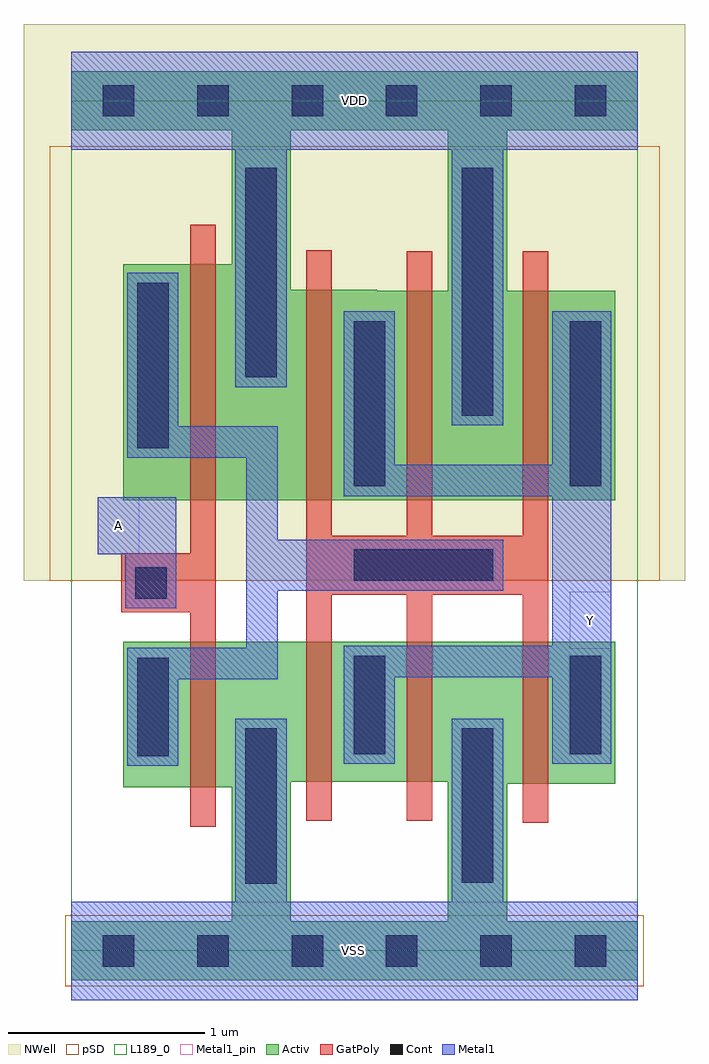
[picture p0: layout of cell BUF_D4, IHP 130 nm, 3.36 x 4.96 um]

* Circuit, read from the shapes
.subckt BUF_D4 A VDD VSS Y
XM1 VSS A n1 VSS sg13_lv_nmos w=0.74u l=0.13u
XM2 Y n1 VSS VSS sg13_lv_nmos w=0.71u l=0.13u m=2
XM3 Y n1 VSS VSS sg13_lv_nmos w=0.72u l=0.13u
XM4 VDD A n1 VDD sg13_lv_pmos w=1.2u l=0.13u
XM5 Y n1 VDD VDD sg13_lv_pmos w=1.07u l=0.13u
XM6 VDD n1 Y VDD sg13_lv_pmos w=1.065u l=0.13u m=2
.ends

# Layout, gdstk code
import gdstk
lib = gdstk.Library(unit=1e-6, precision=1e-09)
def R(c, l, rs):  # rectangles x0, y0, x1, y1
    for r in rs: c.add(gdstk.rectangle(r[:2], r[2:], *l))
def A(c, l, x, y, w, h, nx, ny, dx, dy):  # array of equal rectangles
    R(c, l, [(x+i*dx, y+j*dy, x+i*dx+w, y+j*dy+h) for i in range(nx) for j in range(ny)])
def P(c, l, *ps):  # polygons
    for p in ps: c.add(gdstk.Polygon(p, *l))
Activ = (1, 0)
GatPoly = (5, 0)
Cont = (6, 0)
Metal1 = (8, 0)
Metal1_pin = (8, 2)
pSD = (14, 0)
NWell = (31, 0)
L189_0 = (189, 0)

buf_d4 = lib.new_cell('BUF_D4')
P(buf_d4, Activ, [(0,-0.15),(0,0.15),(0.815,0.15),(1.115,0.15),(1.915,0.15),(1.915,0.86),(1.115,0.86),(1.115,0.15),(0.815,0.15),(0.815,0.83),(0.265,0.83),(0.265,1.57),(2.765,1.57),(2.765,0.85),(2.215,0.85),(2.215,0.15),(2.88,0.15),(2.88,-0.15)],
  [(0.265,2.29),(0.265,3.36),(1.115,3.36),(1.555,3.36),(1.555,3.355),(1.915,3.355),(1.915,4.17),(1.115,4.17),(1.115,3.36),(0.265,3.36),(0.265,3.49),(0.815,3.49),(0.815,4.17),(0,4.17),(0,4.47),(2.88,4.47),(2.88,4.17),(2.215,4.17),(2.215,3.355),(2.765,3.355),(2.765,2.29)])
P(buf_d4, GatPoly, [(2.295,0.65),(2.295,1.81),(1.835,1.81),(1.835,0.66),(1.705,0.66),(1.705,1.81),(1.325,1.81),(1.325,0.66),(1.195,0.66),(1.195,3.56),(1.325,3.56),(1.325,2.11),(1.705,2.11),(1.705,3.555),(1.835,3.555),(1.835,2.11),(2.295,2.11),(2.295,3.555),(2.425,3.555),(2.425,0.65)],
  [(0.605,0.63),(0.605,1.72),(0.255,1.72),(0.255,2.02),(0.605,2.02),(0.605,3.69),(0.735,3.69),(0.735,0.63)])
A(buf_d4, Cont, 0.16, -0.08, 0.16, 0.16, 6, 2, 0.48, 4.32)
R(buf_d4, Cont, [(0.885,0.34,1.045,1.13), (1.985,0.345,2.145,1.13), (0.335,0.99,0.495,1.49), (1.435,1,1.595,1.5), (2.535,1,2.695,1.5), (0.325,1.79,0.485,1.95), (1.435,1.88,2.145,2.04), (1.435,2.36,1.595,3.2), (2.535,2.36,2.695,3.2), (0.335,2.555,0.495,3.395), (1.985,2.72,2.145,3.98), (0.885,2.915,1.045,3.98)])
R(buf_d4, Metal1, [(0.835,2.865,1.095,4.07)])
P(buf_d4, Metal1, [(0.285,0.94),(0.285,1.54),(0.89,1.54),(0.89,2.505),(0.285,2.505),(0.285,3.445),(0.545,3.445),(0.545,2.665),(1.05,2.665),(1.05,2.09),(2.195,2.09),(2.195,1.83),(1.05,1.83),(1.05,1.38),(0.545,1.38),(0.545,0.94)],
  [(1.935,2.67),(1.935,4.07),(0,4.07),(0,4.57),(2.88,4.57),(2.88,4.07),(2.195,4.07),(2.195,2.67)],
  [(1.385,0.95),(1.385,1.55),(2.445,1.55),(2.445,2.31),(1.385,2.31),(1.385,3.25),(1.645,3.25),(1.645,2.47),(2.445,2.47),(2.445,3.25),(2.745,3.25),(2.745,0.95),(2.445,0.95),(2.445,1.39),(1.645,1.39),(1.645,0.95)],
  [(0.275,1.74),(0.275,2.015),(0.135,2.015),(0.135,2.305),(0.535,2.305),(0.535,1.74)],
  [(0,-0.25),(0,0.25),(0.835,0.25),(0.835,1.18),(1.095,1.18),(1.095,0.25),(1.935,0.25),(1.935,1.18),(2.195,1.18),(2.195,0.25),(2.88,0.25),(2.88,-0.25)])
R(buf_d4, Metal1_pin, [(0,-0.25,2.88,0.25), (2.535,1.535,2.745,1.825), (0.135,2.015,0.345,2.305), (0,4.07,2.88,4.57)])
R(buf_d4, pSD, [(-0.03,-0.18,2.91,0.18), (-0.11,1.88,2.99,4.09)])
R(buf_d4, NWell, [(-0.24,1.88,3.12,4.71)])
R(buf_d4, L189_0, [(0,0,2.88,4.32)])
buf_d4.add(gdstk.Label('A', (0.24,2.16), layer=8, texttype=25))
buf_d4.add(gdstk.Label('Y', (2.64,1.68), layer=8, texttype=25))
buf_d4.add(gdstk.Label('VSS', (1.435,0), layer=8, texttype=25))
buf_d4.add(gdstk.Label('VDD', (1.44,4.32), layer=8, texttype=25))

lib.write_gds('BUF_D4.gds')
